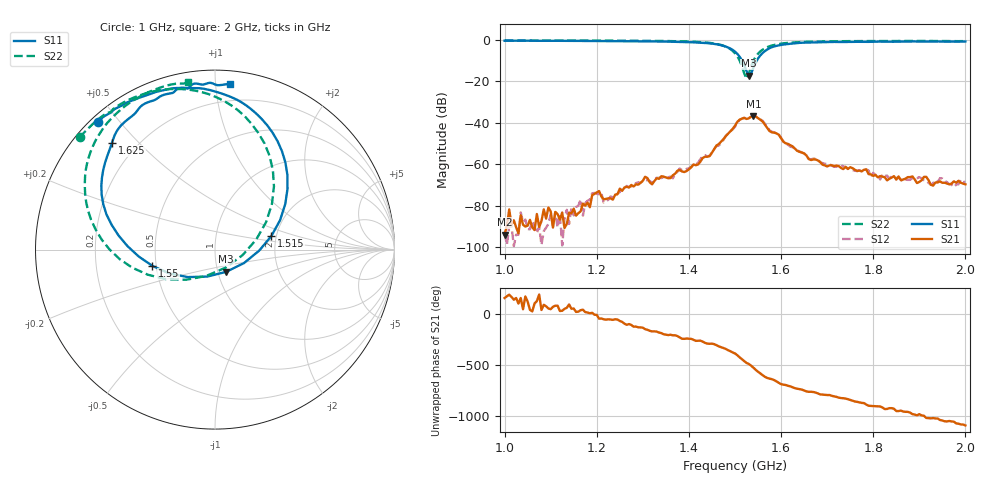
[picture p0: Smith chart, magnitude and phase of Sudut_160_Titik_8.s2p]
# Hz S RI R 50
! CMT, C1220, 16058040, 17.2.0/1
! Date: 14/08/2018 12:06:29
! Data: Format (Calibration Info)
! Freq  S11: Re/Im (F2)  S21: Re/Im (F2)  S12: Re/Im (F2)  S22: Re/Im (F2)
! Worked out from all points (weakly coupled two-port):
!   201 points, 1 GHz to 2 GHz, reference 50 ohm
!   highest |S21| = -36.68 dB at 1.54 GHz (marker M1); lowest = -93.9 dB at 1 GHz (marker M2)
!   lowest |S11| = -17.1 dB at 1.53 GHz (marker M3), VSWR 1.32, Z = 54.9 - j13.9 ohm
!   |S11| at or under -10 dB: 1.515 GHz to 1.547 GHz (31.74 MHz wide, 2.07 % of centre)
!   |S22| runs from -18.7 to -0.2 dB; largest |S21 - S12| = 0.0006
!   S11 on the Smith chart (normalised r, x): 1 GHz: 0.02, +0.44; 1.515 GHz: 1.88, +0.31; 1.55 GHz: 0.48, -0.10; 1.625 GHz: 0.11, +0.42; 2 GHz: 0.09, +1.09
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1e9  -0.6542 0.7098  -1.77e-05 9.66e-06  -2.09e-05 6.66e-06  -0.7534 0.6256
1.17e9  -0.4863 0.8214  8.94e-05 6.79e-05  5.6e-05 1.35e-05  -0.6162 0.7514
1.185e9  -0.4625 0.8305  9.19e-05 4.08e-06  0.000133 4.62e-05  -0.5991 0.7609
1.19e9  -0.4557 0.833  0.000178 2.27e-05  0.0002 9.8e-06  -0.5927 0.7636
1.21e9  -0.4367 0.8404  0.000111 -0.000126  9.49e-05 -0.000178  -0.5783 0.7688
1.215e9  -0.4315 0.8426  8.05e-05 -0.000118  7.32e-05 -9.42e-05  -0.5755 0.7734
1.255e9  -0.3622 0.8666  3.66e-05 -0.000225  1.48e-05 -0.000283  -0.5288 0.8088
1.305e9  -0.2762 0.8907  -0.000443 -0.000233  -0.000377 -0.000185  -0.4552 0.8459
1.335e9  -0.2293 0.8994  -0.000447 3.72e-05  -0.000467 6.33e-05  -0.3997 0.866
1.365e9  -0.1424 0.9004  -0.000459 0.000287  -0.000397 0.000227  -0.3317 0.8838
1.45e9  0.1712 0.8052  0.000758 0.00176  0.000859 0.00174  0.024 0.8413
1.5e9  0.4039 0.3385  0.00752 -0.00412  0.00706 -0.00394  0.3285 0.3522
1.515e9  0.3136 0.0747  0.00122 -0.0126  0.00156 -0.0126  0.2295 0.0559
1.525e9  0.1617 -0.0748  -0.00637 -0.0107  -0.00644 -0.0108  0.0589 -0.1007
1.53e9  0.0628 -0.1239  -0.00849 -0.00976  -0.00856 -0.00988  -0.0496 -0.1472
1.54e9  -0.1516 -0.1532  -0.0143 -0.00318  -0.0142 -0.00316  -0.2734 -0.1647
1.55e9  -0.3484 -0.091  -0.0116 0.00595  -0.0118 0.00556  -0.4595 -0.1014
1.58e9  -0.623 0.254  0.000982 0.00583  0.00126 0.00597  -0.707 0.2164
1.625e9  -0.5736 0.5951  0.00272 6.26e-05  0.00259 0.000148  -0.7011 0.5215
1.67e9  -0.4629 0.7434  0.000937 -0.000916  0.000994 -0.000952  -0.6248 0.6735
1.835e9  -0.1607 0.8992  -0.000415 0.000165  -0.000418 0.000204  -0.3755 0.8746
2e9  0.0861 0.9208  0.000323 -5.91e-05  0.000374 -5.11e-05  -0.1506 0.9336
